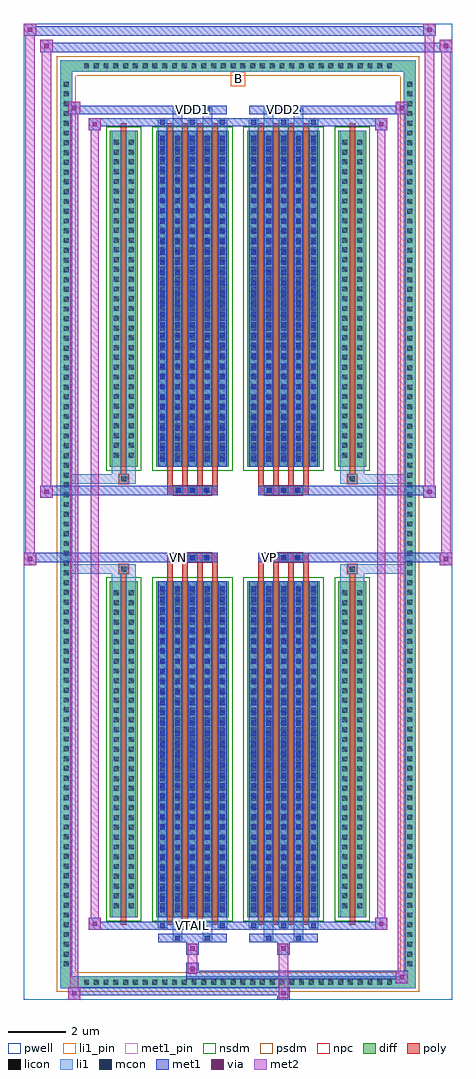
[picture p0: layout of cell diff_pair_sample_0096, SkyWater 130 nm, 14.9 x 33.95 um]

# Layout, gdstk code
import gdstk
lib = gdstk.Library(unit=1e-6, precision=5e-09)
def R(c, l, rs):  # rectangles x0, y0, x1, y1
    for r in rs: c.add(gdstk.rectangle(r[:2], r[2:], *l))
def A(c, l, x, y, w, h, nx, ny, dx, dy):  # array of equal rectangles
    R(c, l, [(x+i*dx, y+j*dy, x+i*dx+w, y+j*dy+h) for i in range(nx) for j in range(ny)])
def P(c, l, *ps):  # polygons
    for p in ps: c.add(gdstk.Polygon(p, *l))
pwell = (64, 44)
diff = (65, 20)
poly = (66, 20)
licon = (66, 44)
li1_pin = (67, 16)
li1 = (67, 20)
mcon = (67, 44)
met1_pin = (68, 16)
met1 = (68, 20)
via = (68, 44)
met2 = (69, 20)
nsdm = (93, 44)
psdm = (94, 20)
npc = (95, 20)

diff_pair_sample_0096 = lib.new_cell('diff_pair_sample_0096')
R(diff_pair_sample_0096, pwell, [(-7.45,-16.54,7.45,17.41), (-4.77,-14.73,-0.01,-0.805), (0.01,-14.73,4.77,-0.805), (-4.77,0.805,-0.01,14.73), (0.01,0.805,4.77,14.73)])
A(diff_pair_sample_0096, diff, -5.475, -16.14, 0.41, 0.41, 32, 2, 0.34, 31.87)
A(diff_pair_sample_0096, diff, -6.18, -15.505, 0.41, 0.41, 1, 91, 0, 0.34)
A(diff_pair_sample_0096, diff, 5.77, -15.505, 0.41, 0.41, 1, 91, 0, 0.34)
R(diff_pair_sample_0096, diff, [(-5.475,-16.14,5.475,-15.73), (-6.18,-15.505,-5.77,15.505), (5.77,-15.505,6.18,15.505), (-4.46,-13.685,-3.49,-1.985), (-2.85,-13.685,-0.32,-1.985), (0.32,-13.685,2.85,-1.985), (3.49,-13.685,4.46,-1.985), (-4.46,1.985,-3.49,13.685), (-2.85,1.985,-0.32,13.685), (0.32,1.985,2.85,13.685), (3.49,1.985,4.46,13.685), (-5.475,15.73,5.475,16.14)])
P(diff_pair_sample_0096, diff, [(6.18,16.14),(-6.18,16.14),(-6.18,-15.73),(-5.77,-15.73),(-5.77,15.73),(5.77,15.73),(5.77,-15.73),(-5.77,-15.73),(-6.18,-15.73),(-6.18,-16.14),(6.18,-16.14)])
A(diff_pair_sample_0096, poly, -2.46, -13.935, 0.19, 12.2, 4, 2, 0.52, 15.67)
A(diff_pair_sample_0096, poly, 0.71, -13.935, 0.19, 12.2, 4, 2, 0.52, 15.67)
A(diff_pair_sample_0096, poly, -2.46, -1.735, 0.19, 0.4, 4, 2, 0.52, 3.07)
A(diff_pair_sample_0096, poly, 0.71, -1.735, 0.19, 0.4, 4, 2, 0.52, 3.07)
A(diff_pair_sample_0096, poly, -2.25, -1.335, 0.33, 0.33, 3, 2, 0.5, 2.34)
A(diff_pair_sample_0096, poly, 0.92, -1.335, 0.33, 0.33, 3, 2, 0.5, 2.34)
R(diff_pair_sample_0096, poly, [(-4.07,-13.935,-3.88,-1.735), (3.88,-13.935,4.07,-1.735), (-4.14,-1.735,-3.81,-1.405), (-4.14,-1.735,-3.81,-1.405), (3.81,-1.735,4.14,-1.405), (3.81,-1.735,4.14,-1.405), (-2.46,-1.335,-0.71,-1.005), (0.71,-1.335,2.46,-1.005), (-2.46,1.005,-0.71,1.335), (0.71,1.005,2.46,1.335), (-4.14,1.405,-3.81,1.735), (-4.14,1.405,-3.81,1.735), (3.81,1.405,4.14,1.735), (3.81,1.405,4.14,1.735), (-4.07,1.735,-3.88,13.935), (3.88,1.735,4.07,13.935)])
A(diff_pair_sample_0096, licon, -5.355, -16.02, 0.17, 0.17, 32, 2, 0.34, 31.87)
A(diff_pair_sample_0096, licon, -6.06, -15.385, 0.17, 0.17, 1, 91, 0, 0.34)
A(diff_pair_sample_0096, licon, 5.89, -15.385, 0.17, 0.17, 1, 91, 0, 0.34)
A(diff_pair_sample_0096, licon, -4.32, -13.36, 0.17, 0.17, 1, 33, 0, 0.34)
A(diff_pair_sample_0096, licon, -3.8, -13.36, 0.17, 0.17, 1, 33, 0, 0.34)
A(diff_pair_sample_0096, licon, -2.71, -13.36, 0.17, 0.17, 5, 33, 0.52, 0.34)
A(diff_pair_sample_0096, licon, 0.46, -13.36, 0.17, 0.17, 5, 33, 0.52, 0.34)
A(diff_pair_sample_0096, licon, 3.63, -13.36, 0.17, 0.17, 1, 33, 0, 0.34)
A(diff_pair_sample_0096, licon, 4.15, -13.36, 0.17, 0.17, 1, 33, 0, 0.34)
A(diff_pair_sample_0096, licon, -2.17, -1.255, 0.17, 0.17, 3, 2, 0.5, 2.34)
A(diff_pair_sample_0096, licon, 1, -1.255, 0.17, 0.17, 3, 2, 0.5, 2.34)
A(diff_pair_sample_0096, licon, -4.32, 2.31, 0.17, 0.17, 1, 33, 0, 0.34)
A(diff_pair_sample_0096, licon, -3.8, 2.31, 0.17, 0.17, 1, 33, 0, 0.34)
A(diff_pair_sample_0096, licon, -2.71, 2.31, 0.17, 0.17, 5, 33, 0.52, 0.34)
A(diff_pair_sample_0096, licon, 0.46, 2.31, 0.17, 0.17, 5, 33, 0.52, 0.34)
A(diff_pair_sample_0096, licon, 3.63, 2.31, 0.17, 0.17, 1, 33, 0, 0.34)
A(diff_pair_sample_0096, licon, 4.15, 2.31, 0.17, 0.17, 1, 33, 0, 0.34)
R(diff_pair_sample_0096, licon, [(-4.06,-1.655,-3.89,-1.485), (3.89,-1.655,4.06,-1.485), (-4.06,1.485,-3.89,1.655), (3.89,1.485,4.06,1.655)])
R(diff_pair_sample_0096, li1_pin, [(-0.25,15.23,0.25,15.73)])
A(diff_pair_sample_0096, li1, -5.435, -16.1, 0.33, 0.33, 32, 2, 0.34, 31.87)
A(diff_pair_sample_0096, li1, -6.14, -15.465, 0.33, 0.33, 1, 91, 0, 0.34)
A(diff_pair_sample_0096, li1, 5.81, -15.465, 0.33, 0.33, 1, 91, 0, 0.34)
A(diff_pair_sample_0096, li1, -2.79, -14.06, 0.33, 0.375, 3, 2, 1.04, 27.745)
A(diff_pair_sample_0096, li1, -2.71, -14.06, 0.17, 0.17, 3, 2, 1.04, 27.95)
A(diff_pair_sample_0096, li1, 0.38, -14.06, 0.33, 0.375, 3, 2, 1.04, 27.745)
A(diff_pair_sample_0096, li1, 0.46, -14.06, 0.17, 0.17, 3, 2, 1.04, 27.95)
A(diff_pair_sample_0096, li1, -2.79, -13.685, 0.33, 11.7, 5, 2, 0.52, 15.67)
A(diff_pair_sample_0096, li1, 0.38, -13.685, 0.33, 11.7, 5, 2, 0.52, 15.67)
A(diff_pair_sample_0096, li1, -2.71, -13.5, 0.17, 0.17, 5, 32, 0.52, 0.36)
A(diff_pair_sample_0096, li1, -2.71, -13.5, 0.17, 11.33, 5, 2, 0.52, 15.67)
A(diff_pair_sample_0096, li1, 0.46, -13.5, 0.17, 0.17, 5, 32, 0.52, 0.36)
A(diff_pair_sample_0096, li1, 0.46, -13.5, 0.17, 11.33, 5, 2, 0.52, 15.67)
A(diff_pair_sample_0096, li1, -4.4, -13.44, 0.33, 0.33, 1, 33, 0, 0.34)
A(diff_pair_sample_0096, li1, -3.88, -13.44, 0.33, 0.33, 1, 33, 0, 0.34)
A(diff_pair_sample_0096, li1, -2.79, -13.44, 0.33, 0.33, 5, 33, 0.52, 0.34)
A(diff_pair_sample_0096, li1, 0.38, -13.44, 0.33, 0.33, 5, 33, 0.52, 0.34)
A(diff_pair_sample_0096, li1, 3.55, -13.44, 0.33, 0.33, 1, 33, 0, 0.34)
A(diff_pair_sample_0096, li1, 4.07, -13.44, 0.33, 0.33, 1, 33, 0, 0.34)
A(diff_pair_sample_0096, li1, -2.25, -1.335, 0.33, 0.33, 3, 2, 0.5, 2.34)
A(diff_pair_sample_0096, li1, 0.92, -1.335, 0.33, 0.33, 3, 2, 0.5, 2.34)
A(diff_pair_sample_0096, li1, -2.71, 2.17, 0.17, 0.17, 5, 32, 0.52, 0.36)
A(diff_pair_sample_0096, li1, 0.46, 2.17, 0.17, 0.17, 5, 32, 0.52, 0.36)
A(diff_pair_sample_0096, li1, -4.4, 2.23, 0.33, 0.33, 1, 33, 0, 0.34)
A(diff_pair_sample_0096, li1, -3.88, 2.23, 0.33, 0.33, 1, 33, 0, 0.34)
A(diff_pair_sample_0096, li1, -2.79, 2.23, 0.33, 0.33, 5, 33, 0.52, 0.34)
A(diff_pair_sample_0096, li1, 0.38, 2.23, 0.33, 0.33, 5, 33, 0.52, 0.34)
A(diff_pair_sample_0096, li1, 3.55, 2.23, 0.33, 0.33, 1, 33, 0, 0.34)
A(diff_pair_sample_0096, li1, 4.07, 2.23, 0.33, 0.33, 1, 33, 0, 0.34)
R(diff_pair_sample_0096, li1, [(-6.18,-16.14,-5.77,-15.73), (-6.18,-16.14,-5.77,-15.73), (-5.77,-16.14,5.77,-15.73), (5.77,-16.14,6.18,-15.73), (5.77,-16.14,6.18,-15.73), (-6.18,-15.73,-5.77,15.73), (5.77,-15.73,6.18,15.73), (-2.27,-14.49,-1.94,-13.685), (-2.19,-14.49,-2.02,-14.32), (-1.23,-14.49,-0.9,-13.685), (-1.15,-14.49,-0.98,-14.32), (0.9,-14.49,1.23,-13.685), (0.98,-14.49,1.15,-14.32), (1.94,-14.49,2.27,-13.685), (2.02,-14.49,2.19,-14.32), (-4.4,-13.685,-4.07,-1.985), (-3.88,-13.685,-3.55,-1.985), (3.55,-13.685,3.88,-1.985), (4.07,-13.685,4.4,-1.985), (-4.4,-1.985,-4.07,-1.405), (-3.88,-1.985,-3.55,-1.405), (3.55,-1.985,3.88,-1.405), (4.07,-1.985,4.4,-1.405), (-6.18,-1.735,-4.14,-1.405), (-4.4,-1.735,-4.14,-1.405), (-4.14,-1.735,-3.81,-1.405), (-3.81,-1.735,-3.55,-1.405), (3.55,-1.735,3.81,-1.405), (3.81,-1.735,4.14,-1.405), (3.81,-1.735,6.18,-1.405), (4.14,-1.735,4.4,-1.405), (-6.18,1.405,-4.14,1.735), (-4.4,1.405,-4.14,1.735), (-4.4,1.405,-4.07,1.985), (-4.14,1.405,-3.81,1.735), (-3.88,1.405,-3.55,1.985), (-3.81,1.405,-3.55,1.735), (3.55,1.405,3.81,1.735), (3.55,1.405,3.88,1.985), (3.81,1.405,4.14,1.735), (3.81,1.405,6.18,1.735), (4.07,1.405,4.4,1.985), (4.14,1.405,4.4,1.735), (-4.4,1.985,-4.07,13.685), (-3.88,1.985,-3.55,13.685), (3.55,1.985,3.88,13.685), (4.07,1.985,4.4,13.685), (-2.27,13.685,-1.94,14.49), (-1.23,13.685,-0.9,14.49), (0.9,13.685,1.23,14.49), (1.94,13.685,2.27,14.49), (-2.19,14.32,-2.02,14.49), (-1.15,14.32,-0.98,14.49), (0.98,14.32,1.15,14.49), (2.02,14.32,2.19,14.49), (-6.18,15.73,-5.77,16.14), (-6.18,15.73,-5.77,16.14), (-5.77,15.73,5.77,16.14), (5.77,15.73,6.18,16.14), (5.77,15.73,6.18,16.14)])
A(diff_pair_sample_0096, mcon, -2.71, -14.06, 0.17, 0.17, 3, 2, 1.04, 27.95)
A(diff_pair_sample_0096, mcon, 0.46, -14.06, 0.17, 0.17, 3, 2, 1.04, 27.95)
A(diff_pair_sample_0096, mcon, -2.71, -13.5, 0.17, 0.17, 5, 32, 0.52, 0.36)
A(diff_pair_sample_0096, mcon, 0.46, -13.5, 0.17, 0.17, 5, 32, 0.52, 0.36)
A(diff_pair_sample_0096, mcon, -2.17, -1.255, 0.17, 0.17, 3, 2, 0.5, 2.34)
A(diff_pair_sample_0096, mcon, 1, -1.255, 0.17, 0.17, 3, 2, 0.5, 2.34)
A(diff_pair_sample_0096, mcon, -2.71, 2.17, 0.17, 0.17, 5, 32, 0.52, 0.36)
A(diff_pair_sample_0096, mcon, 0.46, 2.17, 0.17, 0.17, 5, 32, 0.52, 0.36)
R(diff_pair_sample_0096, mcon, [(-2.19,-14.49,-2.02,-14.32), (-1.15,-14.49,-0.98,-14.32), (0.98,-14.49,1.15,-14.32), (2.02,-14.49,2.19,-14.32), (-2.19,14.32,-2.02,14.49), (-1.15,14.32,-0.98,14.49), (0.98,14.32,1.15,14.49), (2.02,14.32,2.19,14.49)])
R(diff_pair_sample_0096, met1_pin, [(-1.72,-14.1,-1.45,-13.83), (-2.22,-1.295,-1.95,-1.025), (0.95,-1.295,1.22,-1.025), (-1.72,14.28,-1.45,14.55), (1.45,14.28,1.72,14.55)])
A(diff_pair_sample_0096, met1, -2.77, -14.12, 0.29, 0.29, 3, 2, 1.04, 27.95)
A(diff_pair_sample_0096, met1, 0.4, -14.12, 0.29, 0.29, 3, 2, 1.04, 27.95)
A(diff_pair_sample_0096, met1, -2.77, -13.685, 0.29, 11.7, 5, 2, 0.52, 15.67)
A(diff_pair_sample_0096, met1, 0.4, -13.685, 0.29, 11.7, 5, 2, 0.52, 15.67)
A(diff_pair_sample_0096, met1, -2.77, -13.56, 0.29, 0.29, 5, 32, 0.52, 0.36)
A(diff_pair_sample_0096, met1, 0.4, -13.56, 0.29, 0.29, 5, 32, 0.52, 0.36)
A(diff_pair_sample_0096, met1, -2.23, -1.315, 0.29, 0.29, 3, 2, 0.5, 2.34)
A(diff_pair_sample_0096, met1, 0.94, -1.315, 0.29, 0.29, 3, 2, 0.5, 2.34)
A(diff_pair_sample_0096, met1, -2.77, 2.11, 0.29, 0.29, 5, 32, 0.52, 0.36)
A(diff_pair_sample_0096, met1, 0.4, 2.11, 0.29, 0.29, 5, 32, 0.52, 0.36)
R(diff_pair_sample_0096, met1, [(-5.91,-16.54,-5.48,-16.11), (1.37,-16.54,1.8,-16.11), (-5.91,-16.4,1.8,-16.11), (5.48,-15.97,5.91,-15.54), (-1.8,-15.83,5.91,-15.54), (-1.8,-15.69,-1.37,-15.26), (-1.8,-14.98,-1.37,-14.55), (1.37,-14.98,1.8,-14.55), (-2.77,-14.55,-0.4,-14.26), (-2.25,-14.55,-1.96,-14.26), (-1.21,-14.55,-0.92,-14.26), (0.4,-14.55,2.77,-14.26), (0.92,-14.55,1.21,-14.26), (1.96,-14.55,2.25,-14.26), (-5.2,-14.12,-4.77,-13.69), (-5.2,-14.12,-2.77,-13.83), (-2.77,-14.12,-0.4,-13.83), (-0.4,-14.12,0.4,-13.83), (0.4,-14.12,2.77,-13.83), (2.77,-14.12,5.2,-13.83), (4.77,-14.12,5.2,-13.69), (-7.45,-1.435,-7.02,-1.005), (7.02,-1.435,7.45,-1.005), (-7.45,-1.335,-0.71,-1.005), (-2.46,-1.335,-0.71,-1.005), (0.71,-1.335,2.46,-1.005), (0.71,-1.335,7.45,-1.005), (-6.88,0.905,-6.45,1.335), (6.45,0.905,6.88,1.335), (-6.88,1.005,-2.46,1.335), (-2.46,1.005,-0.71,1.335), (0.71,1.005,2.46,1.335), (2.46,1.005,6.88,1.335), (-5.2,13.69,-4.77,14.12), (4.77,13.69,5.2,14.12), (-5.2,13.83,-2.77,14.12), (-2.77,13.83,-0.4,14.12), (-0.4,13.83,0.4,14.12), (0.4,13.83,2.77,14.12), (2.77,13.83,5.2,14.12), (-5.91,14.26,-5.48,14.69), (-5.91,14.26,-2.77,14.55), (-2.77,14.26,-0.4,14.55), (-2.25,14.26,-1.96,14.55), (-1.21,14.26,-0.92,14.55), (0.4,14.26,2.77,14.55), (0.92,14.26,1.21,14.55), (1.96,14.26,2.25,14.55), (2.77,14.26,5.91,14.55), (5.48,14.26,5.91,14.69), (-6.88,16.41,-6.45,16.84), (-6.88,16.41,-4.77,16.74), (-4.77,16.41,4.77,16.74), (4.77,16.41,7.45,16.74), (7.02,16.41,7.45,16.84), (-7.45,16.98,-7.02,17.41), (-7.45,16.98,-4.77,17.31), (-4.77,16.98,4.77,17.31), (4.77,16.98,6.88,17.31), (6.45,16.98,6.88,17.41)])
R(diff_pair_sample_0096, via, [(-5.77,-16.4,-5.62,-16.25), (1.51,-16.4,1.66,-16.25), (5.62,-15.83,5.77,-15.68), (-1.66,-15.55,-1.51,-15.4), (-1.66,-14.84,-1.51,-14.69), (1.51,-14.84,1.66,-14.69), (-5.06,-13.98,-4.91,-13.83), (4.91,-13.98,5.06,-13.83), (-7.31,-1.295,-7.16,-1.145), (7.16,-1.295,7.31,-1.145), (-6.74,1.045,-6.59,1.195), (6.59,1.045,6.74,1.195), (-5.06,13.83,-4.91,13.98), (4.91,13.83,5.06,13.98), (-5.77,14.4,-5.62,14.55), (5.62,14.4,5.77,14.55), (-6.74,16.55,-6.59,16.7), (7.16,16.55,7.31,16.7), (-7.31,17.12,-7.16,17.27), (6.59,17.12,6.74,17.27)])
R(diff_pair_sample_0096, met2, [(-5.91,-16.54,-5.48,-16.11), (-5.84,-16.54,-5.55,14.69), (-5.55,-16.54,-5.48,-16.11), (-5.86,-16.49,-5.53,-16.16), (1.42,-16.49,1.75,-16.16), (1.42,-16.16,1.75,-14.93), (5.48,-15.97,5.91,-15.54), (5.55,-15.97,5.84,14.69), (5.84,-15.97,5.91,-15.54), (5.53,-15.92,5.86,-15.59), (-1.75,-15.64,-1.42,-15.31), (-1.75,-15.31,-1.42,-14.93), (-1.75,-14.93,-1.42,-14.6), (1.42,-14.93,1.75,-14.6), (-5.2,-14.12,-4.77,-13.69), (-5.13,-14.12,-4.84,14.12), (-4.84,-14.12,-4.77,-13.69), (4.77,-14.12,5.2,-13.69), (4.84,-14.12,5.13,14.12), (5.13,-14.12,5.2,-13.69), (-5.15,-14.07,-4.82,-13.74), (4.82,-14.07,5.15,-13.74), (-7.45,-1.435,-7.02,-1.005), (-7.4,-1.435,-7.07,17.41), (-7.07,-1.435,-7.02,-1.005), (7.02,-1.435,7.45,-1.005), (7.07,-1.435,7.4,16.84), (7.4,-1.435,7.45,-1.005), (-7.4,-1.385,-7.07,-1.055), (7.07,-1.385,7.4,-1.055), (-6.88,0.905,-6.45,1.335), (-6.83,0.905,-6.5,16.84), (-6.5,0.905,-6.45,1.335), (6.45,0.905,6.88,1.335), (6.5,0.905,6.83,17.41), (6.83,0.905,6.88,1.335), (-6.83,0.955,-6.5,1.285), (6.5,0.955,6.83,1.285), (-5.2,13.69,-4.77,14.12), (-4.84,13.69,-4.77,14.12), (4.77,13.69,5.2,14.12), (5.13,13.69,5.2,14.12), (-5.15,13.74,-4.82,14.07), (4.82,13.74,5.15,14.07), (-5.91,14.26,-5.48,14.69), (-5.55,14.26,-5.48,14.69), (5.48,14.26,5.91,14.69), (5.84,14.26,5.91,14.69), (-5.86,14.31,-5.53,14.64), (5.53,14.31,5.86,14.64), (-6.88,16.41,-6.45,16.84), (-6.5,16.41,-6.45,16.84), (7.02,16.41,7.45,16.84), (7.4,16.41,7.45,16.84), (-6.83,16.46,-6.5,16.79), (7.07,16.46,7.4,16.79), (-7.45,16.98,-7.02,17.41), (-7.07,16.98,-7.02,17.41), (6.45,16.98,6.88,17.41), (6.83,16.98,6.88,17.41), (-7.4,17.03,-7.07,17.36), (6.5,17.03,6.83,17.36)])
R(diff_pair_sample_0096, nsdm, [(-4.59,-13.815,-3.36,-1.855), (-2.98,-13.815,-0.19,-1.855), (0.19,-13.815,2.98,-1.855), (3.36,-13.815,4.59,-1.855), (-4.59,1.855,-3.36,13.815), (-2.98,1.855,-0.19,13.815), (0.19,1.855,2.98,13.815), (3.36,1.855,4.59,13.815)])
P(diff_pair_sample_0096, psdm, [(6.31,16.27),(-6.31,16.27),(-6.31,-15.6),(-5.64,-15.6),(-5.64,15.6),(5.64,15.6),(5.64,-15.6),(-5.64,-15.6),(-6.31,-15.6),(-6.31,-16.27),(6.31,-16.27)])
A(diff_pair_sample_0096, npc, -2.27, -1.355, 0.37, 0.37, 3, 2, 0.5, 2.34)
A(diff_pair_sample_0096, npc, 0.9, -1.355, 0.37, 0.37, 3, 2, 0.5, 2.34)
R(diff_pair_sample_0096, npc, [(-4.16,-1.755,-3.79,-1.385), (3.79,-1.755,4.16,-1.385), (-2.27,-1.355,-1.4,-0.985), (-2.27,-1.355,-1.4,-0.985), (-1.77,-1.355,-0.9,-0.985), (-1.77,-1.355,-0.9,-0.985), (0.9,-1.355,1.77,-0.985), (0.9,-1.355,1.77,-0.985), (1.4,-1.355,2.27,-0.985), (1.4,-1.355,2.27,-0.985), (-2.27,0.985,-1.4,1.355), (-2.27,0.985,-1.4,1.355), (-1.77,0.985,-0.9,1.355), (-1.77,0.985,-0.9,1.355), (0.9,0.985,1.77,1.355), (0.9,0.985,1.77,1.355), (1.4,0.985,2.27,1.355), (1.4,0.985,2.27,1.355), (-4.16,1.385,-3.79,1.755), (3.79,1.385,4.16,1.755)])
diff_pair_sample_0096.add(gdstk.Label('VTAIL', (-1.585,-13.965), layer=68, texttype=5))
diff_pair_sample_0096.add(gdstk.Label('VN', (-2.085,-1.16), layer=68, texttype=5))
diff_pair_sample_0096.add(gdstk.Label('VP', (1.085,-1.16), layer=68, texttype=5))
diff_pair_sample_0096.add(gdstk.Label('B', (0,15.48), layer=67, texttype=5))
diff_pair_sample_0096.add(gdstk.Label('VDD2', (1.585,14.415), layer=68, texttype=5))
diff_pair_sample_0096.add(gdstk.Label('VDD1', (-1.585,14.415), layer=68, texttype=5))

lib.write_gds('diff_pair_sample_0096.gds')
